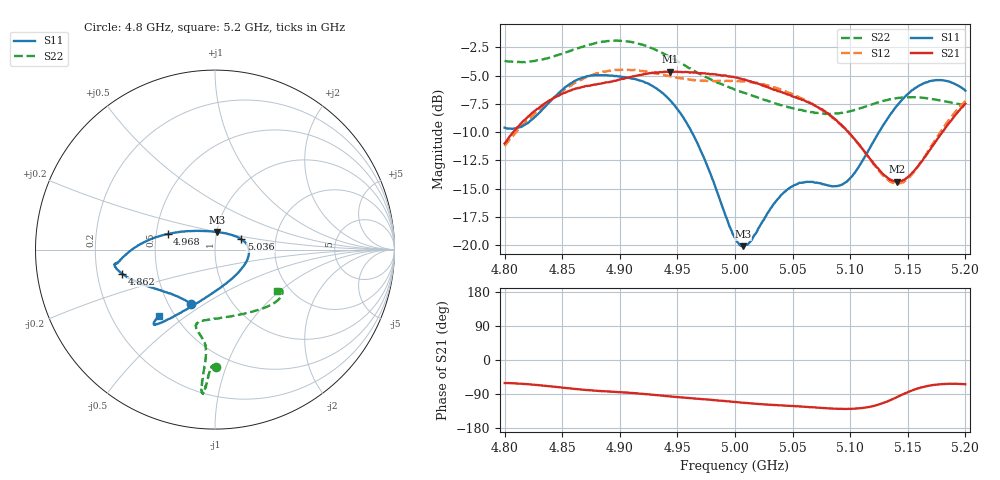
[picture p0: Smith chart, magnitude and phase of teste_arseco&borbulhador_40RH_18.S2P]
! Network Analyzer HP8722D
! Hewlett-Packard
! Data name: Linha & Wilkinson
! Saver's name: Rodrigo Anjos
! Comments: Teste da utilização de aquisição
! continua pelo VNA HP8722D
! Time and date: 15/4/2025 16:30
!  Frequency  S11  S21  S12  S22
# HZ  S  MA R 50
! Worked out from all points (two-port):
!   401 points, 4.8 GHz to 5.2 GHz, reference 50 ohm
!   highest |S21| = -4.64 dB at 4.944 GHz (marker M1); lowest = -14.4 dB at 5.141 GHz (marker M2)
!   |S21| within 3 dB of the highest: 4.832 GHz to 5.069 GHz (237 MHz wide, 4.79 % of centre); 5.198526 GHz to end of sweep
!   lowest |S11| = -20.1 dB at 5.007 GHz (marker M3), VSWR 1.22, Z = 50.1 + j9.93 ohm
!   |S11| at or under -10 dB: 4.962 GHz to 5.125 GHz (162.5 MHz wide, 3.22 % of centre)
!   |S22| runs from -8.4 to -1.9 dB; largest |S21 - S12| = 0.88
!   S11 on the Smith chart (normalised r, x): 4.8 GHz: 0.65, -0.44; 4.862 GHz: 0.31, -0.12; 4.968 GHz: 0.58, +0.11; 5.036 GHz: 1.33, +0.16; 5.2 GHz: 0.41, -0.40
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4.8e9  0.3308 -113.6  0.2813 -60.8  0.275 -175.1  0.6538 -89.5
4.819e9  0.3446 -133.5  0.3647 -63.7  0.3525 -173.3  0.6483 -91.2
4.862e9  0.5366 -165.5  0.4937 -76.5  0.5263 -176.5  0.7395 -93.5
4.867e9  0.5492 -167.5  0.5005 -78.2  0.5401 -177.4  0.7541 -93.7
4.898e9  0.5588 -172.0  0.5373 -84.4  0.5948 176.3  0.8047 -94.9
4.934e9  0.4852 -177.9  0.5815 -93.3  0.5736 172.1  0.7185 -95.5
4.944e9  0.4354 177.6  0.5858 -96.3  0.5581 171.9  0.6778 -95.3
4.968e9  0.2778 161.8  0.5775 -102.5  0.5359 174.3  0.5776 -95.0
5e9  0.1073 107.3  0.5525 -110.9  0.5341 176.5  0.4873 -99.2
5.007e9  0.09876 83.8  0.5408 -112.5  0.5305 176.4  0.4735 -100.9
5.013e9  0.1032 64.5  0.5321 -114.3  0.527 176.2  0.4623 -102.2
5.036e9  0.1572 21.8  0.4844 -119.1  0.4957 175.1  0.4224 -103.6
5.05e9  0.182 7.3  0.4554 -121.4  0.4659 174.6  0.4039 -100.3
5.067e9  0.1904 -11.1  0.4216 -124.6  0.4218 174.0  0.3882 -92.0
5.086e9  0.182 -41.5  0.3639 -128.4  0.3619 173.8  0.3818 -77.8
5.097e9  0.1906 -64.8  0.3217 -129.1  0.3204 174.5  0.3882 -68.6
5.134e9  0.3732 -115.9  0.1955 -107.0  0.192 -159.9  0.442 -43.3
5.141e9  0.4163 -119.9  0.1906 -97.3  0.1872 -148.9  0.4475 -40.2
5.153e9  0.4814 -124.9  0.2065 -81.0  0.2037 -130.2  0.4513 -35.9
5.17e9  0.5328 -128.5  0.2671 -66.9  0.2726 -113.1  0.4438 -32.0
5.184e9  0.5323 -129.8  0.3374 -63.0  0.3485 -107.2  0.431 -31.1
5.2e9  0.4826 -130.3  0.4223 -64.0  0.434 -106.0  0.4156 -33.3
